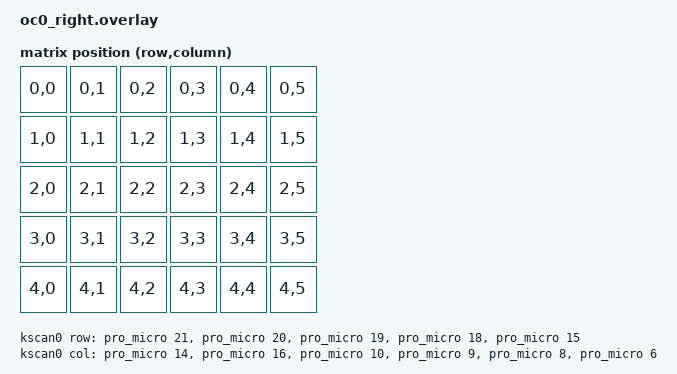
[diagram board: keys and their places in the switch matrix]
#include "oc0.dtsi"

/ {
    chosen {
        zmk,kscan = &kscan0;
        // Use the local right-side transform
        zmk,matrix-transform = &matrix_transform_right; 
    };

    kscan0: kscan0 {
        compatible = "zmk,kscan-gpio-matrix";
        diode-direction = "col2row"; 
        wakeup-source;

        /* 
           RIGHT HALF COLUMNS ONLY (6 Pins)
           SAME PIN NUMBERS AS LEFT SIDE (each MCU is independent)
        */
        col-gpios
            = <&pro_micro 14 GPIO_ACTIVE_HIGH>
            , <&pro_micro 16 GPIO_ACTIVE_HIGH>
            , <&pro_micro 10 GPIO_ACTIVE_HIGH>
            , <&pro_micro 9 GPIO_ACTIVE_HIGH>
            , <&pro_micro 8 GPIO_ACTIVE_HIGH>
            , <&pro_micro 6 GPIO_ACTIVE_HIGH>
            ;

        /* Rows (Identical to left side) */
        row-gpios
            = <&pro_micro 21 (GPIO_ACTIVE_HIGH | GPIO_PULL_DOWN)>
            , <&pro_micro 20 (GPIO_ACTIVE_HIGH | GPIO_PULL_DOWN)>
            , <&pro_micro 19 (GPIO_ACTIVE_HIGH | GPIO_PULL_DOWN)>
            , <&pro_micro 18 (GPIO_ACTIVE_HIGH | GPIO_PULL_DOWN)>
            , <&pro_micro 15 (GPIO_ACTIVE_HIGH | GPIO_PULL_DOWN)>
            ;
    };

    /* 
       DEFINITION FOR THE RIGHT SIDE MATRIX 
       It scans 6 physical columns.
       The 'col-offset' makes ZMK treat them as Columns 6-11 in the global matrix.
    */
    matrix_transform_right: matrix_transform_right {
        compatible = "zmk,matrix-transform";
        
        columns = <6>; 
        rows = <5>; 
        
        map = <
            RC(0,0) RC(0,1) RC(0,2) RC(0,3) RC(0,4) RC(0,5)
            RC(1,0) RC(1,1) RC(1,2) RC(1,3) RC(1,4) RC(1,5)
            RC(2,0) RC(2,1) RC(2,2) RC(2,3) RC(2,4) RC(2,5)
            RC(3,0) RC(3,1) RC(3,2) RC(3,3) RC(3,4) RC(3,5)
            /* Thumb keys on right side */
            RC(4,0) RC(4,1) RC(4,2) RC(4,3) RC(4,4) RC(4,5)
        >;
    };
};

/* Apply the offset here so this side maps to logical cols 6-11 */
&matrix_transform_right {
    col-offset = <6>; 
};

&physical_layout_oc0 {
    transform = <&matrix_transform_right>;
    kscan = <&kscan0>;
};
